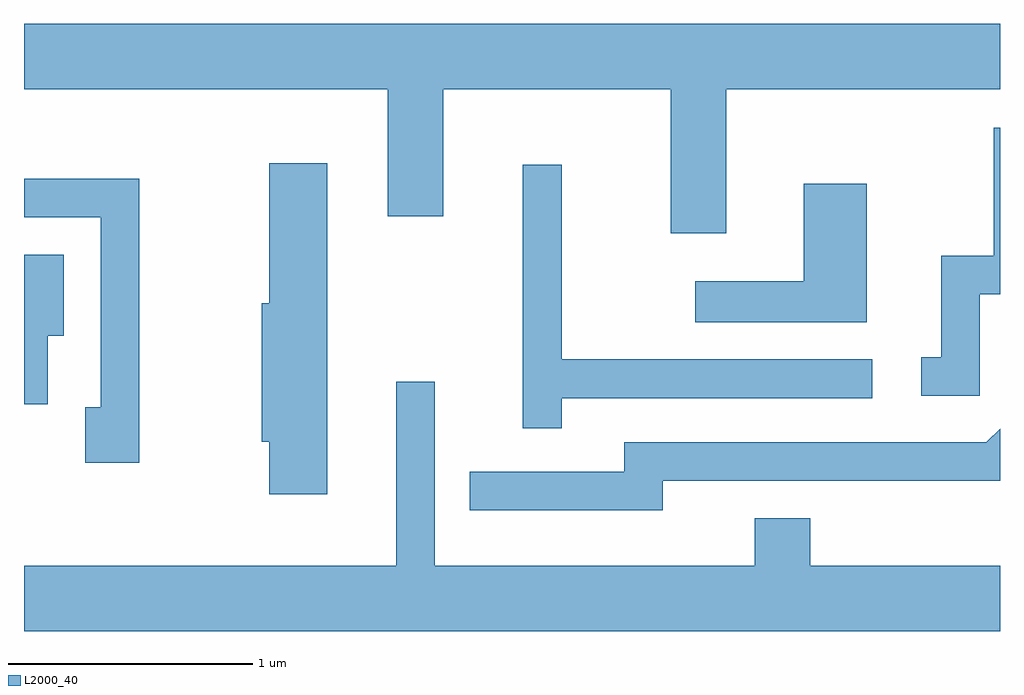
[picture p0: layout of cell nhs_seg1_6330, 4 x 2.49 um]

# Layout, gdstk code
import gdstk
lib = gdstk.Library(unit=1e-6, precision=1e-09)
def P(c, l, *ps):  # polygons
    for p in ps: c.add(gdstk.Polygon(p, *l))
L2000_40 = (2000, 40)

nhs_seg1_6330 = lib.new_cell('nhs_seg1_6330')
P(nhs_seg1_6330, L2000_40, [(378.489,930.656),(379.611,930.656),(379.611,930.924),(375.611,930.924),(375.611,930.656),(377.101,930.656),(377.101,930.136),(377.329,930.136),(377.329,930.656),(378.261,930.656),(378.261,930.066),(378.489,930.066)],
  [(379.529,929.816),(379.611,929.816),(379.611,930.499),(379.586,930.499),(379.586,929.974),(379.371,929.974),(379.371,929.559),(379.288,929.559),(379.288,929.401),(379.529,929.401)],
  [(376.854,930.354),(376.616,930.354),(376.616,929.779),(376.586,929.779),(376.586,929.211),(376.616,929.211),(376.616,928.996),(376.854,928.996)],
  [(377.814,929.391),(379.088,929.391),(379.088,929.549),(377.814,929.549),(377.814,930.348),(377.656,930.348),(377.656,929.268),(377.814,929.268)],
  [(376.084,930.289),(375.611,930.289),(375.611,930.131),(375.926,930.131),(375.926,929.354),(375.861,929.354),(375.861,929.126),(376.084,929.126)],
  [(379.064,930.269),(378.806,930.269),(378.806,929.869),(378.363,929.869),(378.363,929.701),(379.064,929.701)],
  [(375.709,929.646),(375.774,929.646),(375.774,929.979),(375.611,929.979),(375.611,929.366),(375.709,929.366)],
  [(379.611,928.704),(378.834,928.704),(378.834,928.899),(378.606,928.899),(378.606,928.704),(377.294,928.704),(377.294,929.458),(377.136,929.458),(377.136,928.704),(375.611,928.704),(375.611,928.436),(379.611,928.436)],
  [(378.229,929.051),(379.611,929.051),(379.611,929.266),(379.554,929.209),(378.071,929.209),(378.071,929.089),(377.438,929.089),(377.438,928.931),(378.229,928.931)])

lib.write_gds('nhs_seg1_6330.gds')
